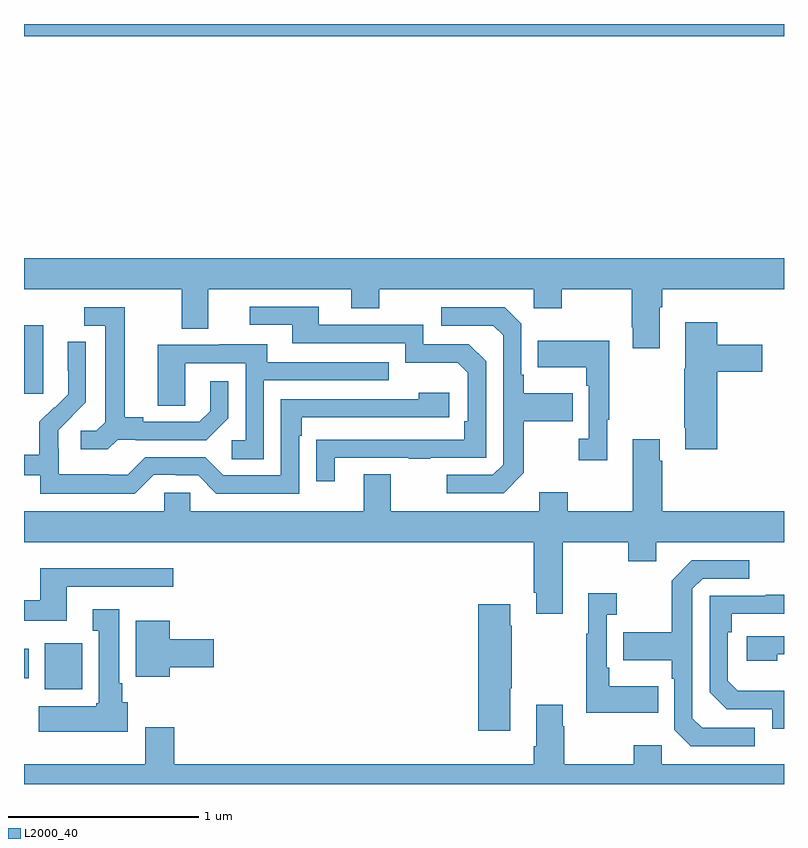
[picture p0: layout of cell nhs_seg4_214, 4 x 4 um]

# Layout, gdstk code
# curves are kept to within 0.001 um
import gdstk
lib = gdstk.Library(unit=1e-6, precision=1e-09)
def R(c, l, rs):  # rectangles x0, y0, x1, y1
    for r in rs: c.add(gdstk.rectangle(r[:2], r[2:], *l))
def P(c, l, *ps):  # polygons
    for p in ps: c.add(gdstk.Polygon(p, *l))
L2000_40 = (2000, 40)

nhs_seg4_214 = lib.new_cell('nhs_seg4_214')
R(nhs_seg4_214, L2000_40, [(121.109,777.398,121.306,777.64), (121,777.457,121.024,777.613), (121,778.953,121.102,779.314), (121,780.836,125,780.9)])
P(nhs_seg4_214, L2000_40, [(124.345,779.408),(124.358,779.408),(124.358,779.504),(125,779.504),(125,779.668),(121,779.668),(121,779.504),(121.829,779.504),(121.829,779.296),(121.969,779.296),(121.969,779.504),(122.723,779.504),(122.723,779.405),(122.871,779.405),(122.871,779.504),(123.684,779.504),(123.684,779.405),(123.831,779.405),(123.831,779.504),(124.198,779.504),(124.198,779.305),(124.205,779.305),(124.205,779.193),(124.345,779.193)],
  [(122.635,778.617),(123.025,778.617),(123.025,778.612),(123.137,778.612),(123.137,778.617),(123.432,778.617),(123.432,779.124),(123.342,779.214),(123.102,779.214),(123.102,779.316),(122.551,779.316),(122.551,779.412),(122.187,779.412),(122.187,779.316),(122.411,779.316),(122.411,779.22),(123.006,779.22),(123.006,779.117),(123.283,779.117),(123.336,779.064),(123.336,778.81),(123.316,778.81),(123.316,778.713),(122.539,778.712),(122.539,778.494),(122.635,778.494)],
  [(123.631,778.537),(123.631,778.81),(123.887,778.81),(123.887,778.957),(123.631,778.957),(123.631,779.053),(123.618,779.053),(123.618,779.322),(123.531,779.409),(123.195,779.409),(123.195,779.313),(123.471,779.313),(123.522,779.262),(123.522,778.581),(123.468,778.527),(123.225,778.527),(123.225,778.431),(123.525,778.431)],
  [(121.494,778.713),(121.588,778.713),(121.588,778.71),(121.96,778.71),(122.076,778.826),(122.076,779.02),(121.979,779.02),(121.979,778.863),(121.922,778.806),(121.627,778.806),(121.627,778.829),(121.531,778.829),(121.531,779.409),(121.317,779.409),(121.317,779.313),(121.427,779.313),(121.427,778.805),(121.38,778.758),(121.299,778.758),(121.299,778.661),(121.442,778.661)],
  [(124.649,779.069),(124.885,779.069),(124.885,779.211),(124.649,779.211),(124.649,779.329),(124.481,779.329),(124.481,779.085),(124.474,779.085),(124.474,778.774),(124.481,778.774),(124.481,778.662),(124.649,778.662)],
  [(124.069,778.817),(124.081,778.817),(124.081,779.233),(123.703,779.233),(123.703,779.093),(123.96,779.093),(123.96,778.997),(123.972,778.997),(123.972,778.718),(123.921,778.718),(123.921,778.605),(124.069,778.605)],
  [(121.683,778.527),(121.799,778.527),(121.799,778.524),(121.917,778.524),(122.013,778.428),(122.448,778.428),(122.448,778.733),(122.461,778.733),(122.461,778.83),(123.238,778.83),(123.238,778.96),(123.077,778.96),(123.077,778.926),(122.352,778.926),(122.352,778.524),(122.049,778.524),(121.953,778.62),(121.638,778.62),(121.545,778.527),(121.445,778.527),(121.445,778.531),(121.182,778.531),(121.182,778.665),(121.18,778.665),(121.18,778.762),(121.326,778.91),(121.326,779.228),(121.23,779.228),(121.23,779.074),(121.232,779.074),(121.232,778.952),(121.161,778.881),(121.158,778.884),(121.081,778.807),(121.081,778.633),(121,778.633),(121,778.524),(121.086,778.524),(121.086,778.427),(121.583,778.427)],
  [(122.262,779.025),(122.921,779.025),(122.921,779.121),(122.281,779.121),(122.281,779.215),(122.027,779.215),(122.027,779.211),(121.703,779.211),(121.703,778.891),(121.848,778.891),(121.848,779.115),(122.166,779.115),(122.166,778.71),(122.094,778.71),(122.094,778.609),(122.262,778.609)],
  [(123.835,778.172),(124.18,778.172),(124.18,778.073),(124.327,778.073),(124.327,778.172),(125,778.172),(125,778.336),(124.358,778.336),(124.358,778.601),(124.345,778.601),(124.345,778.714),(124.205,778.714),(124.205,778.336),(123.861,778.336),(123.861,778.435),(123.713,778.435),(123.713,778.336),(122.929,778.336),(122.929,778.531),(122.789,778.531),(122.789,778.336),(121.875,778.336),(121.875,778.434),(121.737,778.434),(121.737,778.336),(121,778.336),(121,778.172),(123.683,778.172),(123.683,777.907),(123.695,777.907),(123.695,777.795),(123.835,777.795)],
  [(124.846,777.195),(124.569,777.195),(124.518,777.246),(124.518,777.927),(124.572,777.981),(124.816,777.981),(124.816,778.077),(124.515,778.077),(124.41,777.971),(124.41,777.699),(124.153,777.699),(124.153,777.551),(124.41,777.551),(124.41,777.455),(124.422,777.455),(124.422,777.186),(124.509,777.099),(124.846,777.099)],
  [(121.225,777.939),(121.786,777.939),(121.786,778.036),(121.085,778.036),(121.085,777.868),(121,777.868),(121,777.758),(121.225,777.758)],
  [(124.337,777.415),(124.081,777.415),(124.081,777.511),(124.068,777.511),(124.068,777.791),(124.12,777.791),(124.12,777.904),(123.971,777.904),(123.971,777.691),(123.96,777.691),(123.96,777.275),(124.337,777.275)],
  [(125,777.391),(124.757,777.391),(124.704,777.444),(124.704,777.698),(124.724,777.698),(124.724,777.795),(125,777.795),(125,777.896),(124.903,777.896),(124.903,777.891),(124.608,777.891),(124.608,777.384),(124.698,777.294),(124.938,777.294),(124.938,777.192),(125,777.192)],
  [(123.559,777.403),(123.567,777.403),(123.567,777.734),(123.559,777.734),(123.559,777.847),(123.392,777.847),(123.392,777.18),(123.559,777.18)],
  [(121.546,777.33),(121.516,777.33),(121.516,777.43),(121.501,777.43),(121.501,777.82),(121.361,777.82),(121.361,777.707),(121.394,777.707),(121.394,777.324),(121.381,777.324),(121.381,777.31),(121.077,777.31),(121.077,777.176),(121.546,777.176)],
  [(121.768,777.515),(121.999,777.515),(121.999,777.662),(121.768,777.662),(121.768,777.76),(121.589,777.76),(121.589,777.464),(121.768,777.464)],
  [(124.964,777.582),(125,777.582),(125,777.678),(124.803,777.678),(124.803,777.548),(124.964,777.548)],
  [(125,777.004),(124.356,777.004),(124.356,777.103),(124.21,777.103),(124.21,777.004),(123.843,777.004),(123.843,777.203),(123.835,777.203),(123.835,777.316),(123.695,777.316),(123.695,777.1),(123.683,777.1),(123.683,777.004),(121.79,777.004),(121.79,777.199),(121.637,777.199),(121.637,777.004),(121,777.004),(121,776.9),(125,776.9)])

lib.write_gds('nhs_seg4_214.gds')
